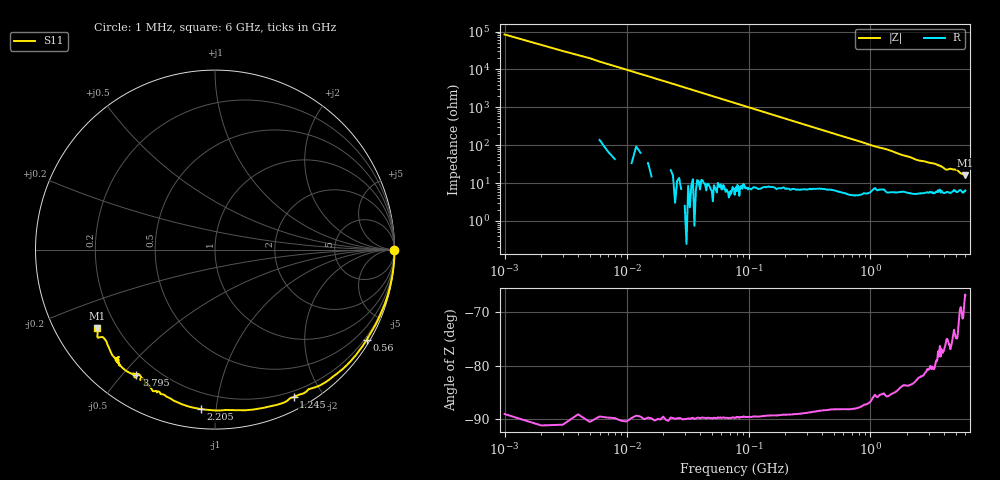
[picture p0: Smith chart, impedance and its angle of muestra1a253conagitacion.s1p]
! COPPER MOUNTAIN TECHNOLOGIES, R60, 23103002, 24.3.3/3.0
! Date: 23/10/2026 13:43:57
! Data: Format [Calibration Info]
! Frequency		S11: Re/Im RO
# HZ S RI R 50
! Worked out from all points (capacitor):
!   1280 points, 1 MHz to 6 GHz, reference 50 ohm
!   read as one part to ground: C = 1.62 pF near 7 MHz
!   lowest |Z| = 16.2 ohm at 6 GHz (marker M1)
!   S11 on the Smith chart (normalised r, x): 1 MHz: open; 560 MHz: 0.12, -3.63; 1.245 GHz: 0.13, -1.66; 2.205 GHz: 0.11, -0.91; 3.795 GHz: 0.13, -0.55; 6 GHz: 0.13, -0.30
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1000000  1 -0.0012
2.55e8  0.9643 -0.2482
5.6e8  0.8448 -0.5038
7.55e8  0.7458 -0.6322
9.9e8  0.5892 -0.7544
1.245e9  0.438 -0.8216
1.505e9  0.2944 -0.8759
1.77e9  0.1134 -0.8951
2.07e9  -0.00542 -0.8957
2.205e9  -0.0771 -0.8884
2.255e9  -0.1068 -0.8838
2.455e9  -0.1961 -0.8561
2.745e9  -0.2385 -0.8362
3.005e9  -0.3043 -0.8034
3.335e9  -0.3474 -0.7869
3.58e9  -0.4035 -0.7181
3.68e9  -0.4121 -0.7083
3.755e9  -0.4494 -0.7085
3.795e9  -0.4384 -0.697
4.15e9  -0.5534 -0.6166
4.26e9  -0.5507 -0.61
4.505e9  -0.5335 -0.6446
4.82e9  -0.5366 -0.5975
5.12e9  -0.5578 -0.6037
5.255e9  -0.5869 -0.5562
5.46e9  -0.6183 -0.4941
5.75e9  -0.6551 -0.4867
6e9  -0.6587 -0.4388
